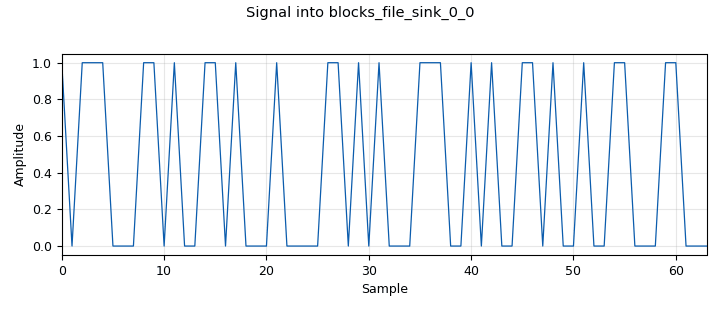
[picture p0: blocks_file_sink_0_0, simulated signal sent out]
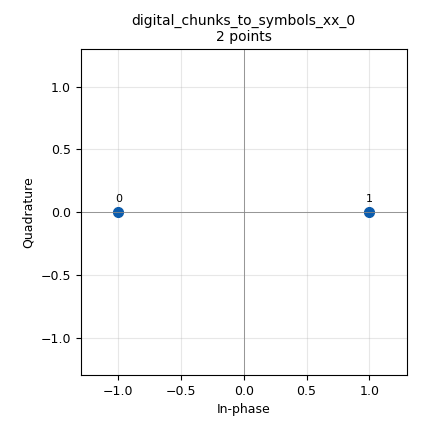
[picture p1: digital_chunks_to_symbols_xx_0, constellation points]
<?xml version='1.0' encoding='utf-8'?>
<flow_graph>
<block>
<key>variable</key>
<param><key>id</key><value>packet_len</value></param>
<param><key>value</key><value>96</value></param>
</block>
<block>
<key>variable</key>
<param><key>id</key><value>sync_word</value></param>
<param><key>value</key><value>[complex(1, 0), complex(1, 0), complex(-1, 0), complex(-1, 0), complex(-1, 0), complex(-1, 0), complex(1, 0), complex(-1, 0), complex(1, 0), complex(1, 0), complex(-1, 0), complex(1, 0), complex(1, 0), complex(1, 0), complex(-1, 0), complex(-1, 0), complex(1, 0), complex(-1, 0), complex(1, 0), complex(-1, 0), complex(-1, 0), complex(1, 0), complex(1, 0), complex(-1, 0), complex(-1, 0), complex(1, 0), complex(1, 0), complex(-1, 0), complex(1, 0), complex(1, 0), complex(1, 0), complex(-1, 0), complex(1, 0), complex(-1, 0), complex(1, 0), complex(1, 0), complex(1, 0), complex(-1, 0), complex(-1, 0), complex(-1, 0), complex(-1, 0), complex(1, 0), complex(-1, 0), complex(-1, 0), complex(-1, 0), complex(-1, 0), complex(-1, 0), complex(1, 0), complex(1, 0), complex(-1, 0)]</value></param>
</block>
<block>
<key>variable</key>
<param><key>id</key><value>payload_mod</value></param>
<param><key>value</key><value>digital.constellation_bpsk()</value></param>
</block>
<block>
<key>variable</key>
<param><key>id</key><value>samp_rate</value></param>
<param><key>value</key><value>32000</value></param>
</block>
<block>
<key>variable</key>
<param><key>id</key><value>length_tag_name</value></param>
<param><key>value</key><value>"packet_len"</value></param>
</block>
<block>
<key>digital_chunks_to_symbols_xx</key>
<param><key>id</key><value>digital_chunks_to_symbols_xx_0</value></param>
<param><key>in_type</key><value>byte</value></param>
<param><key>out_type</key><value>complex</value></param>
<param><key>symbol_table</key><value>payload_mod.points()</value></param>
<param><key>dimension</key><value>1</value></param>
</block>
<block>
<key>import</key>
<param><key>id</key><value>import_1</value></param>
<param><key>import</key><value>from gnuradio.digital.utils import tagged_streams</value></param>
</block>
<block>
<key>blocks_vector_source_x</key>
<param><key>id</key><value>blocks_vector_source_x_0</value></param>
<param><key>type</key><value>complex</value></param>
<param><key>vector</key><value>sync_word</value></param>
<param><key>repeat</key><value>True</value></param>
</block>
<block>
<key>virtual_sink</key>
<param><key>id</key><value>virtual_sink_0</value></param>
<param><key>stream_id</key><value>Tx symbols</value></param>
</block>
<block>
<key>virtual_source</key>
<param><key>id</key><value>virtual_source_0</value></param>
<param><key>stream_id</key><value>Tx symbols</value></param>
</block>
<block>
<key>blocks_null_sink</key>
<param><key>id</key><value>blocks_null_sink_1</value></param>
<param><key>type</key><value>complex</value></param>
</block>
<block>
<key>dctk_generic_tx_path</key>
<param><key>id</key><value>dctk_generic_tx_path_0</value></param>
<param><key>payload_packet_len</key><value>packet_len</value></param>
<param><key>sync_packet_len</key><value>len(sync_word)</value></param>
</block>
<block>
<key>blocks_file_sink</key>
<param><key>id</key><value>blocks_file_sink_0_0</value></param>
<param><key>file</key><value>/home/csmedina/WiComModules/gr-dctk/build/tx.txt</value></param>
<param><key>type</key><value>byte</value></param>
</block>
<block>
<key>analog_random_source_x</key>
<param><key>id</key><value>analog_random_source_x_0</value></param>
<param><key>type</key><value>byte</value></param>
<param><key>min</key><value>0</value></param>
<param><key>max</key><value>2</value></param>
<param><key>num_samps</key><value>packet_len</value></param>
<param><key>repeat</key><value>True</value></param>
</block>
<block>
<key>generic_rx_path</key>
<param><key>id</key><value>generic_rx_path_0</value></param>
<param><key>sync_header_len</key><value>len(sync_word)</value></param>
<param><key>items_per_header_symbol</key><value>1</value></param>
<param><key>frequency_mod_sensitivity</key><value>-2</value></param>
<param><key>payload_len</key><value>packet_len</value></param>
</block>
<block>
<key>blocks_file_sink</key>
<param><key>id</key><value>blocks_file_sink_0_0_0</value></param>
<param><key>file</key><value>/home/csmedina/WiComModules/gr-dctk/build/rx.txt</value></param>
<param><key>type</key><value>byte</value></param>
</block>
<block>
<key>dctk_frame_sync</key>
<param><key>id</key><value>dctk_frame_sync_0</value></param>
<param><key>sync_sequence</key><value>sync_word</value></param>
<param><key>threshold</key><value>.9</value></param>
</block>
<block>
<key>blocks_null_sink</key>
<param><key>id</key><value>blocks_null_sink_0</value></param>
<param><key>type</key><value>float</value></param>
</block>
<block>
<key>blocks_throttle</key>
<param><key>id</key><value>blocks_throttle_0</value></param>
<param><key>type</key><value>float</value></param>
<param><key>samples_per_second</key><value>samp_rate</value></param>
</block>
<block>
<key>analog_const_source_x</key>
<param><key>id</key><value>analog_const_source_x_0</value></param>
<param><key>type</key><value>float</value></param>
<param><key>const</key><value>0</value></param>
</block>
<block>
<key>digital_constellation_decoder_cb</key>
<param><key>id</key><value>digital_constellation_decoder_cb_0</value></param>
<param><key>constellation</key><value>payload_mod.base()</value></param>
</block>
<block>
<key>options</key>
<param><key>id</key><value>bpsk_tx_rx</value></param>
<param><key>generate_options</key><value>no_gui</value></param>
<param><key>category</key><value>Custom</value></param>
</block>
<connection><source_block_id>blocks_vector_source_x_0</source_block_id><sink_block_id>dctk_generic_tx_path_0</sink_block_id><source_key>0</source_key><sink_key>0</sink_key></connection>
<connection><source_block_id>digital_chunks_to_symbols_xx_0</source_block_id><sink_block_id>dctk_generic_tx_path_0</sink_block_id><source_key>0</source_key><sink_key>1</sink_key></connection>
<connection><source_block_id>dctk_generic_tx_path_0</source_block_id><sink_block_id>virtual_sink_0</sink_block_id><source_key>0</source_key><sink_key>0</sink_key></connection>
<connection><source_block_id>virtual_source_0</source_block_id><sink_block_id>dctk_frame_sync_0</sink_block_id><source_key>0</source_key><sink_key>0</sink_key></connection>
<connection><source_block_id>virtual_source_0</source_block_id><sink_block_id>generic_rx_path_0</sink_block_id><source_key>0</source_key><sink_key>0</sink_key></connection>
<connection><source_block_id>generic_rx_path_0</source_block_id><sink_block_id>blocks_null_sink_1</sink_block_id><source_key>0</source_key><sink_key>0</sink_key></connection>
<connection><source_block_id>analog_const_source_x_0</source_block_id><sink_block_id>generic_rx_path_0</sink_block_id><source_key>0</source_key><sink_key>1</sink_key></connection>
<connection><source_block_id>analog_random_source_x_0</source_block_id><sink_block_id>digital_chunks_to_symbols_xx_0</sink_block_id><source_key>0</source_key><sink_key>0</sink_key></connection>
<connection><source_block_id>analog_random_source_x_0</source_block_id><sink_block_id>blocks_file_sink_0_0</sink_block_id><source_key>0</source_key><sink_key>0</sink_key></connection>
<connection><source_block_id>digital_constellation_decoder_cb_0</source_block_id><sink_block_id>blocks_file_sink_0_0_0</sink_block_id><source_key>0</source_key><sink_key>0</sink_key></connection>
<connection><source_block_id>generic_rx_path_0</source_block_id><sink_block_id>digital_constellation_decoder_cb_0</sink_block_id><source_key>1</source_key><sink_key>0</sink_key></connection>
<connection><source_block_id>dctk_frame_sync_0</source_block_id><sink_block_id>blocks_throttle_0</sink_block_id><source_key>0</source_key><sink_key>0</sink_key></connection>
<connection><source_block_id>blocks_throttle_0</source_block_id><sink_block_id>blocks_null_sink_0</sink_block_id><source_key>0</source_key><sink_key>0</sink_key></connection>
<connection><source_block_id>dctk_frame_sync_0</source_block_id><sink_block_id>generic_rx_path_0</sink_block_id><source_key>1</source_key><sink_key>2</sink_key></connection>
</flow_graph>
